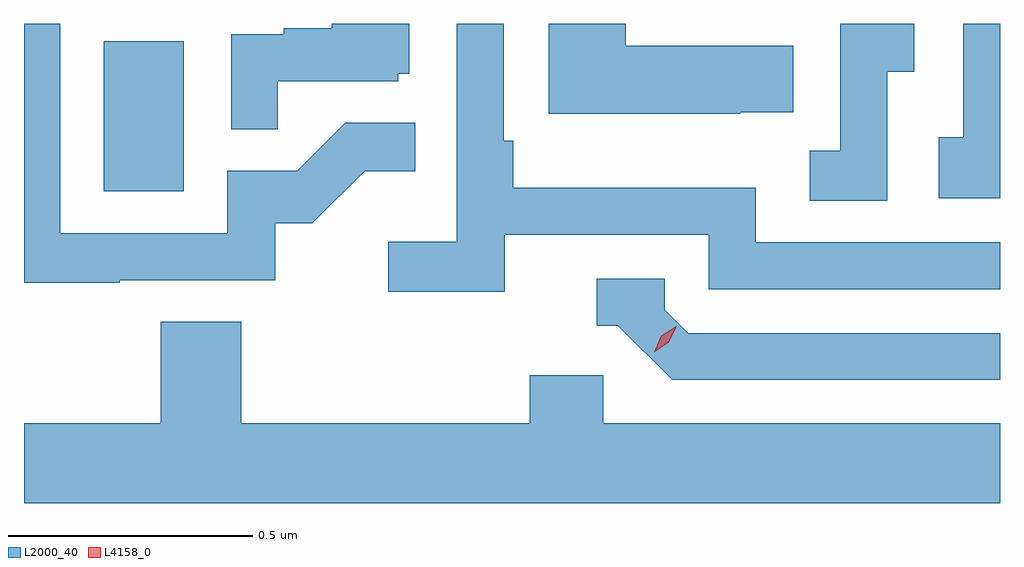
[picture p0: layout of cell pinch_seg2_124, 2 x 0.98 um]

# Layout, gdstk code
import gdstk
lib = gdstk.Library(unit=1e-6, precision=1e-09)
def R(c, l, rs):  # rectangles x0, y0, x1, y1
    for r in rs: c.add(gdstk.rectangle(r[:2], r[2:], *l))
def P(c, l, *ps):  # polygons
    for p in ps: c.add(gdstk.Polygon(p, *l))
L2000_40 = (2000, 40)
L4158_0 = (4158, 0)

pinch_seg2_124 = lib.new_cell('pinch_seg2_124')
R(pinch_seg2_124, L2000_40, [(1059.536,632.292,1059.7,632.599)])
P(pinch_seg2_124, L2000_40, [(1061.142,632.536),(1061.197,632.536),(1061.197,632.635),(1061.046,632.635),(1061.046,632.375),(1060.983,632.375),(1060.983,632.272),(1061.142,632.272)],
  [(1059.569,632.109),(1059.888,632.109),(1059.888,632.226),(1059.964,632.226),(1060.071,632.333),(1060.175,632.333),(1060.175,632.432),(1060.031,632.432),(1059.933,632.334),(1059.789,632.334),(1059.789,632.205),(1059.447,632.205),(1059.447,632.635),(1059.373,632.635),(1059.373,632.104),(1059.569,632.104)],
  [(1060.358,632.202),(1060.776,632.202),(1060.776,632.091),(1061.373,632.091),(1061.373,632.187),(1060.872,632.187),(1060.872,632.299),(1060.376,632.299),(1060.376,632.395),(1060.356,632.395),(1060.356,632.635),(1060.26,632.635),(1060.26,632.188),(1060.119,632.188),(1060.119,632.086),(1060.358,632.086)],
  [(1061.373,632.635),(1061.298,632.635),(1061.298,632.402),(1061.247,632.402),(1061.247,632.277),(1061.373,632.277)],
  [(1059.893,632.517),(1060.14,632.517),(1060.14,632.532),(1060.162,632.532),(1060.162,632.635),(1060.004,632.635),(1060.004,632.626),(1059.905,632.626),(1059.905,632.613),(1059.798,632.613),(1059.798,632.419),(1059.893,632.419)],
  [(1060.841,632.453),(1060.949,632.453),(1060.949,632.59),(1060.606,632.59),(1060.606,632.635),(1060.448,632.635),(1060.448,632.45),(1060.841,632.45)],
  [(1061.373,632.001),(1060.734,632.001),(1060.686,632.049),(1060.686,632.112),(1060.547,632.112),(1060.547,632.016),(1060.59,632.016),(1060.701,631.905),(1061.373,631.905)],
  [(1061.373,631.816),(1060.56,631.816),(1060.56,631.914),(1060.409,631.914),(1060.409,631.816),(1059.818,631.816),(1059.818,632.024),(1059.653,632.024),(1059.653,631.816),(1059.373,631.816),(1059.373,631.652),(1061.373,631.652)])
P(pinch_seg2_124, L4158_0, [(1060.664,631.962),(1060.664,631.962),(1060.679,631.995),(1060.71,632.015),(1060.71,632.015),(1060.71,632.014),(1060.694,631.982),(1060.664,631.962)])

lib.write_gds('pinch_seg2_124.gds')
